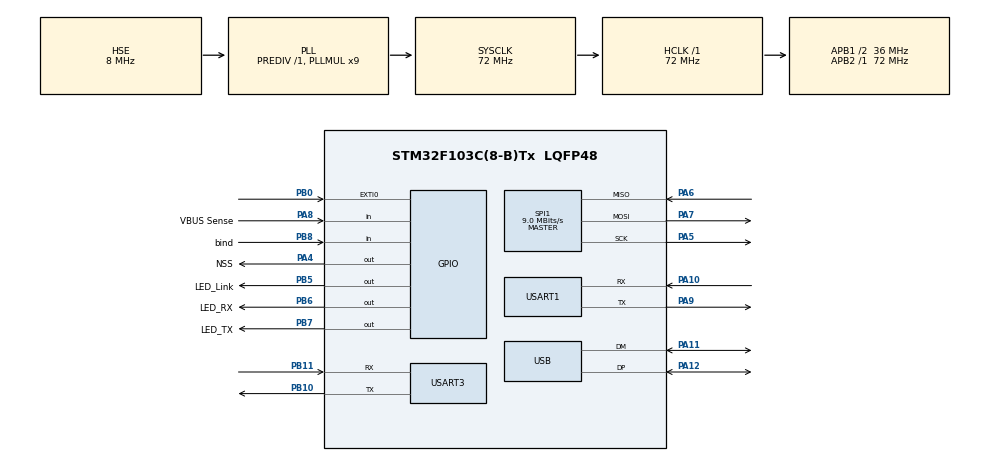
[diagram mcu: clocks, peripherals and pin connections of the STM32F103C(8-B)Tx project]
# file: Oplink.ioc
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Mcu.Family=STM32F1
Mcu.Name=STM32F103C(8-B)Tx
Mcu.Package=LQFP48
NVIC.EXTI0_IRQn=true\:0\:0\:false\:true\:true\:1\:true
NVIC.PriorityGroup=NVIC_PRIORITYGROUP_4
NVIC.RCC_IRQn=true\:0\:0\:false\:false\:true\:true
NVIC.USART1_IRQn=true\:0\:0\:false\:false\:true\:true
NVIC.USART3_IRQn=true\:0\:0\:false\:false\:true\:true
NVIC.USB_LP_CAN1_RX0_IRQn=true\:0\:0\:false\:false\:true\:false
PA10.Mode=Asynchronous
PA10.Signal=USART1_RX
PA11.Mode=Device
PA11.Signal=USB_DM
PA12.Mode=Device
PA12.Signal=USB_DP
PA13.Mode=Serial_Wire
PA13.Signal=SYS_JTMS-SWDIO
PA14.Mode=Serial_Wire
PA14.Signal=SYS_JTCK-SWCLK
PA4.GPIO_Label=NSS
PA4.Signal=GPIO_Output
PA5.Mode=Full_Duplex_Master
PA5.Signal=SPI1_SCK
PA6.Mode=Full_Duplex_Master
PA6.Signal=SPI1_MISO
PA7.Mode=Full_Duplex_Master
PA7.Signal=SPI1_MOSI
PA8.GPIO_Label=VBUS Sense
PA8.Signal=GPIO_Input
PA9.Mode=Asynchronous
PA9.Signal=USART1_TX
PB0.Signal=GPXTI0
PB10.Mode=Asynchronous
PB10.Signal=USART3_TX
PB11.Mode=Asynchronous
PB11.Signal=USART3_RX
PB5.GPIO_Label=LED_Link
PB5.PinState=GPIO_PIN_SET
PB5.Signal=GPIO_Output
PB6.GPIO_Label=LED_RX
PB6.PinState=GPIO_PIN_SET
PB6.Signal=GPIO_Output
PB7.GPIO_Label=LED_TX
PB7.PinState=GPIO_PIN_SET
PB7.Signal=GPIO_Output
PB8.GPIO_Label=bind
PB8.GPIO_PuPd=GPIO_PULLDOWN
PB8.Signal=GPIO_Input
PD0-OSC_IN.Mode=HSE-External-Oscillator
PD0-OSC_IN.Signal=RCC_OSC_IN
PD1-OSC_OUT.Mode=HSE-External-Oscillator
PD1-OSC_OUT.Signal=RCC_OSC_OUT
ProjectManager.HeapSize=0x200
ProjectManager.StackSize=0x400
ProjectManager.TargetToolchain=SW4STM32
RCC.AHBFreq_Value=72000000
RCC.APB1CLKDivider=RCC_HCLK_DIV2
RCC.APB1Freq_Value=36000000
RCC.APB1TimFreq_Value=72000000
RCC.APB2Freq_Value=72000000
RCC.APB2TimFreq_Value=72000000
RCC.HCLKFreq_Value=72000000
RCC.PLLMUL=RCC_PLL_MUL9
RCC.SYSCLKFreq_VALUE=72000000
RCC.SYSCLKSource=RCC_SYSCLKSOURCE_PLLCLK
RCC.USBFreq_Value=48000000
RCC.USBPrescaler=RCC_USBCLKSOURCE_PLL_DIV1_5
SPI1.BaudRatePrescaler=SPI_BAUDRATEPRESCALER_8
SPI1.CalculateBaudRate=9.0 MBits/s
SPI1.Direction=SPI_DIRECTION_2LINES
SPI1.Mode=SPI_MODE_MASTER
SPI1.VirtualType=VM_MASTER
USART1.VirtualMode=VM_ASYNC
USART3.VirtualMode=VM_ASYNC
USB_DEVICE.CLASS_NAME_FS=CDC
USB_DEVICE.VirtualMode=Cdc
USB_DEVICE.VirtualModeFS=Cdc_FS
VP_USB_DEVICE_VS_USB_DEVICE_CDC_FS.Mode=CDC_FS
board=custom

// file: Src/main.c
/**
  ******************************************************************************
  * @file           : main.c
  * @brief          : Main program body
  ******************************************************************************
  * This notice applies to any and all portions of this file
  * that are not between comment pairs USER CODE BEGIN and
  * USER CODE END. Other portions of this file, whether
  * inserted by the user or by software development tools
  * are owned by their respective copyright owners.
  *
  * Copyright (c) 2019 STMicroelectronics International N.V.
  * All rights reserved.
  *
  * Redistribution and use in source and binary forms, with or without
  * modification, are permitted, provided that the following conditions are met:
  *
  * 1. Redistribution of source code must retain the above copyright notice,
  *    this list of conditions and the following disclaimer.
  * 2. Redistributions in binary form must reproduce the above copyright notice,
  *    this list of conditions and the following disclaimer in the documentation
  *    and/or other materials provided with the distribution.
  * 3. Neither the name of STMicroelectronics nor the names of other
  *    contributors to this software may be used to endorse or promote products
  *    derived from this software without specific written permission.
  * 4. This software, including modifications and/or derivative works of this
  *    software, must execute solely and exclusively on microcontroller or
  *    microprocessor devices manufactured by or for STMicroelectronics.
  * 5. Redistribution and use of this software other than as permitted under
  *    this license is void and will automatically terminate your rights under
  *    this license.
  *
  * THIS SOFTWARE IS PROVIDED BY STMICROELECTRONICS AND CONTRIBUTORS "AS IS"
  * AND ANY EXPRESS, IMPLIED OR STATUTORY WARRANTIES, INCLUDING, BUT NOT
  * LIMITED TO, THE IMPLIED WARRANTIES OF MERCHANTABILITY, FITNESS FOR A
  * PARTICULAR PURPOSE AND NON-INFRINGEMENT OF THIRD PARTY INTELLECTUAL PROPERTY
  * RIGHTS ARE DISCLAIMED TO THE FULLEST EXTENT PERMITTED BY LAW. IN NO EVENT
  * SHALL STMICROELECTRONICS OR CONTRIBUTORS BE LIABLE FOR ANY DIRECT, INDIRECT,
  * INCIDENTAL, SPECIAL, EXEMPLARY, OR CONSEQUENTIAL DAMAGES (INCLUDING, BUT NOT
  * LIMITED TO, PROCUREMENT OF SUBSTITUTE GOODS OR SERVICES; LOSS OF USE, DATA,
  * OR PROFITS; OR BUSINESS INTERRUPTION) HOWEVER CAUSED AND ON ANY THEORY OF
  * LIABILITY, WHETHER IN CONTRACT, STRICT LIABILITY, OR TORT (INCLUDING
  * NEGLIGENCE OR OTHERWISE) ARISING IN ANY WAY OUT OF THE USE OF THIS SOFTWARE,
  * EVEN IF ADVISED OF THE POSSIBILITY OF SUCH DAMAGE.
  *
  ******************************************************************************
  */
#include "main.h"
#include "stm32f1xx_hal.h"
#include "usb_device.h"

/* USER CODE BEGIN Includes */
#include "usbd_cdc_if.h"
#include "RFM69.h"
#include <stdlib.h>
/* USER CODE END Includes */

SPI_HandleTypeDef hspi1;

UART_HandleTypeDef huart1;
UART_HandleTypeDef huart3;

/* USER CODE BEGIN PV */
/* Private variables ---------------------------------------------------------*/

#define ENCRYPTKEY	"sampleEncryptKey"
#define NODEID 22
#define NETID 100

char str_tx[256];
char str_rx[256];
int16_t rssiRX=0;

extern uint8_t RX_char[3];

bool prit_char = false;
bool recive_done = false;

typedef struct{
    uint8_t command;
    uint8_t id;
    uint8_t status;
    uint16_t remote_command;
    int16_t data_power;
    int16_t data_1;
    int16_t data_2;
    int16_t data_3;
    int16_t data_4;
}Data;

Data DataTX;
Data DataRX;

struct {
    char command[5];
    char id[5];
    char status[5];
    char remote_command[5];
    char data_power[5];
    char data_1[5];
    char data_2[5];
    char data_3[5];
    char data_4[5];
}PrintData_s;

int8_t *RX=0;

/* USER CODE END PV */

void SystemClock_Config(void);
static void MX_GPIO_Init(void);
static void MX_SPI1_Init(void);
static void MX_USART1_UART_Init(void);
static void MX_USART3_UART_Init(void);
static void MX_NVIC_Init(void);

/* USER CODE BEGIN PFP */
/* Private function prototypes -----------------------------------------------*/

/* USER CODE END PFP */

/* USER CODE BEGIN 0 */

void LED_INIT(void);

/* USER CODE END 0 */

int main(void)
{

  /* MCU Configuration----------------------------------------------------------*/

  /* Reset of all peripherals, Initializes the Flash interface and the Systick. */
  HAL_Init();

  /* Configure the system clock */
  SystemClock_Config();

  /* Initialize all configured peripherals */
  MX_GPIO_Init();
  MX_SPI1_Init();
  MX_USART1_UART_Init();
  MX_USART3_UART_Init();
  MX_USB_DEVICE_Init();

  /* Initialize interrupts */
  MX_NVIC_Init();
  /* USER CODE BEGIN 2 */

   LED_INIT ();
   RFM69_initialize (RF69_433MHZ ,NODEID ,NETID);
   RFM69_listen (true);
   RFM69_initialize_listen ();
   RFM69_encrypt (ENCRYPTKEY);
   RFM69_promiscuous (true);
   RFM69_setPowerLevel (31);
   RFM69_receiveBegin ();
  /* USER CODE END 2 */

  /* Infinite loop */
  /* USER CODE BEGIN WHILE */
  while (1)
  {

      if ( RFM69_receiveDone()) {
          rssiRX = RFM69_readRSSI2 ();
          RX = RFM69_Read_P ();
          DataRX = *( Data * ) RX;
          recive_done=true;
      }

      if (recive_done) {
          if ( prit_char == false )
              sprintf (str_tx ,
                       "Temperature: [%d] Pressure: [%d] Humidity: [%d] Vbat: [%.2fV] RSSI: [%d] packet: %d  \r\n" ,
                       DataRX.data_1 ,DataRX.data_2 ,
                       DataRX.data_3 ,( DataRX.data_power / 100.0 ) ,rssiRX ,DataRX.remote_command);
          else
              sprintf (str_tx ,"%d,%d,%d,%.2f,%d,%d\r\n" ,DataRX.data_1 ,DataRX.data_2 ,
                       DataRX.data_3 ,( DataRX.data_power / 100.0 ) ,rssiRX ,DataRX.remote_command);
          CDC_Transmit_FS (( unsigned char * ) str_tx ,( uint16_t ) strlen (str_tx));
          HAL_GPIO_WritePin (GPIOB ,GPIO_PIN_5 ,GPIO_PIN_SET);
          recive_done=false;
      }

      if(DataRX.remote_command==3000) {
          HAL_GPIO_WritePin (GPIOB ,LED_TX_Pin ,GPIO_PIN_RESET);
          DataTX=DataRX;
          DataTX.data_4=rssiRX;
          DataRX.remote_command=0;
          HAL_Delay (500);
          RFM69_send (100 ,( const void * ) ( &DataTX ) ,sizeof (DataTX) ,false);
          HAL_GPIO_WritePin (GPIOB ,LED_TX_Pin ,GPIO_PIN_SET);
      }

      switch (RX_char[0]){
          case '1':
              prit_char=true;
              RX_char[0]=0;
              break;
          case '2':
              prit_char=false;
              RX_char[0]=0;
              break;
          case '3':
              HAL_GPIO_TogglePin (GPIOB,LED_RX_Pin);
              RX_char[0]=0;
              break;
          case '4':
              RX_char[0]=0;
              DataTX=DataRX;
              RFM69_send (100 ,( const void * ) ( &DataTX ) ,sizeof (DataTX) ,false);
              break;
          default:
              break;

      }

      if (HAL_GPIO_ReadPin (GPIOB,GPIO_PIN_8))
            NVIC_SystemReset();

  /* USER CODE END WHILE */

  }

}

void SystemClock_Config(void)
{

  RCC_OscInitTypeDef RCC_OscInitStruct;
  RCC_ClkInitTypeDef RCC_ClkInitStruct;
  RCC_PeriphCLKInitTypeDef PeriphClkInit;

    /**Initializes the CPU, AHB and APB busses clocks
    */
  RCC_OscInitStruct.OscillatorType = RCC_OSCILLATORTYPE_HSE;
  RCC_OscInitStruct.HSEState = RCC_HSE_ON;
  RCC_OscInitStruct.HSEPredivValue = RCC_HSE_PREDIV_DIV1;
  RCC_OscInitStruct.HSIState = RCC_HSI_ON;
  RCC_OscInitStruct.PLL.PLLState = RCC_PLL_ON;
  RCC_OscInitStruct.PLL.PLLSource = RCC_PLLSOURCE_HSE;
  RCC_OscInitStruct.PLL.PLLMUL = RCC_PLL_MUL9;
  if (HAL_RCC_OscConfig(&RCC_OscInitStruct) != HAL_OK)
  {
    _Error_Handler(__FILE__, __LINE__);
  }

    /**Initializes the CPU, AHB and APB busses clocks
    */
  RCC_ClkInitStruct.ClockType = RCC_CLOCKTYPE_HCLK|RCC_CLOCKTYPE_SYSCLK
                              |RCC_CLOCKTYPE_PCLK1|RCC_CLOCKTYPE_PCLK2;
  RCC_ClkInitStruct.SYSCLKSource = RCC_SYSCLKSOURCE_PLLCLK;
  RCC_ClkInitStruct.AHBCLKDivider = RCC_SYSCLK_DIV1;
  RCC_ClkInitStruct.APB1CLKDivider = RCC_HCLK_DIV2;
  RCC_ClkInitStruct.APB2CLKDivider = RCC_HCLK_DIV1;

  if (HAL_RCC_ClockConfig(&RCC_ClkInitStruct, FLASH_LATENCY_2) != HAL_OK)
  {
    _Error_Handler(__FILE__, __LINE__);
  }

  PeriphClkInit.PeriphClockSelection = RCC_PERIPHCLK_USB;
  PeriphClkInit.UsbClockSelection = RCC_USBCLKSOURCE_PLL_DIV1_5;
  if (HAL_RCCEx_PeriphCLKConfig(&PeriphClkInit) != HAL_OK)
  {
    _Error_Handler(__FILE__, __LINE__);
  }

    /**Configure the Systick interrupt time
    */
  HAL_SYSTICK_Config(HAL_RCC_GetHCLKFreq()/1000);

    /**Configure the Systick
    */
  HAL_SYSTICK_CLKSourceConfig(SYSTICK_CLKSOURCE_HCLK);

  /* SysTick_IRQn interrupt configuration */
  HAL_NVIC_SetPriority(SysTick_IRQn, 0, 0);
}

/**
  * @brief NVIC Configuration.
  * @retval None
  */
static void MX_NVIC_Init(void)
{
  /* EXTI0_IRQn interrupt configuration */
  HAL_NVIC_SetPriority(EXTI0_IRQn, 0, 0);
  HAL_NVIC_EnableIRQ(EXTI0_IRQn);
}

/* SPI1 init function */
static void MX_SPI1_Init(void)
{

  /* SPI1 parameter configuration*/
  hspi1.Instance = SPI1;
  hspi1.Init.Mode = SPI_MODE_MASTER;
  hspi1.Init.Direction = SPI_DIRECTION_2LINES;
  hspi1.Init.DataSize = SPI_DATASIZE_8BIT;
  hspi1.Init.CLKPolarity = SPI_POLARITY_LOW;
  hspi1.Init.CLKPhase = SPI_PHASE_1EDGE;
  hspi1.Init.NSS = SPI_NSS_SOFT;
  hspi1.Init.BaudRatePrescaler = SPI_BAUDRATEPRESCALER_8;
  hspi1.Init.FirstBit = SPI_FIRSTBIT_MSB;
  hspi1.Init.TIMode = SPI_TIMODE_DISABLE;
  hspi1.Init.CRCCalculation = SPI_CRCCALCULATION_DISABLE;
  hspi1.Init.CRCPolynomial = 10;
  if (HAL_SPI_Init(&hspi1) != HAL_OK)
  {
    _Error_Handler(__FILE__, __LINE__);
  }

}

/* USART1 init function */
static void MX_USART1_UART_Init(void)
{

  huart1.Instance = USART1;
  huart1.Init.BaudRate = 115200;
  huart1.Init.WordLength = UART_WORDLENGTH_8B;
  huart1.Init.StopBits = UART_STOPBITS_1;
  huart1.Init.Parity = UART_PARITY_NONE;
  huart1.Init.Mode = UART_MODE_TX_RX;
  huart1.Init.HwFlowCtl = UART_HWCONTROL_NONE;
  huart1.Init.OverSampling = UART_OVERSAMPLING_16;
  if (HAL_UART_Init(&huart1) != HAL_OK)
  {
    _Error_Handler(__FILE__, __LINE__);
  }

}

/* USART3 init function */
static void MX_USART3_UART_Init(void)
{

  huart3.Instance = USART3;
  huart3.Init.BaudRate = 115200;
  huart3.Init.WordLength = UART_WORDLENGTH_8B;
  huart3.Init.StopBits = UART_STOPBITS_1;
  huart3.Init.Parity = UART_PARITY_NONE;
  huart3.Init.Mode = UART_MODE_TX_RX;
  huart3.Init.HwFlowCtl = UART_HWCONTROL_NONE;
  huart3.Init.OverSampling = UART_OVERSAMPLING_16;
  if (HAL_UART_Init(&huart3) != HAL_OK)
  {
    _Error_Handler(__FILE__, __LINE__);
  }

}

/** Configure pins as
        * Analog
        * Input
        * Output
        * EVENT_OUT
        * EXTI
*/
static void MX_GPIO_Init(void)
{

  GPIO_InitTypeDef GPIO_InitStruct;

  /* GPIO Ports Clock Enable */
  __HAL_RCC_GPIOD_CLK_ENABLE();
  __HAL_RCC_GPIOA_CLK_ENABLE();
  __HAL_RCC_GPIOB_CLK_ENABLE();

  /*Configure GPIO pin Output Level */
  HAL_GPIO_WritePin(NSS_GPIO_Port, NSS_Pin, GPIO_PIN_RESET);

  /*Configure GPIO pin Output Level */
  HAL_GPIO_WritePin(GPIOB, LED_Link_Pin|LED_RX_Pin|LED_TX_Pin, GPIO_PIN_SET);

  /*Configure GPIO pin : NSS_Pin */
  GPIO_InitStruct.Pin = NSS_Pin;
  GPIO_InitStruct.Mode = GPIO_MODE_OUTPUT_PP;
  GPIO_InitStruct.Pull = GPIO_NOPULL;
  GPIO_InitStruct.Speed = GPIO_SPEED_FREQ_LOW;
  HAL_GPIO_Init(NSS_GPIO_Port, &GPIO_InitStruct);

  /*Configure GPIO pin : PB0 */
  GPIO_InitStruct.Pin = GPIO_PIN_0;
  GPIO_InitStruct.Mode = GPIO_MODE_IT_RISING;
  GPIO_InitStruct.Pull = GPIO_NOPULL;
  HAL_GPIO_Init(GPIOB, &GPIO_InitStruct);

  /*Configure GPIO pin : VBUS_Sense_Pin */
  GPIO_InitStruct.Pin = VBUS_Sense_Pin;
  GPIO_InitStruct.Mode = GPIO_MODE_INPUT;
  GPIO_InitStruct.Pull = GPIO_NOPULL;
  HAL_GPIO_Init(VBUS_Sense_GPIO_Port, &GPIO_InitStruct);

  /*Configure GPIO pins : LED_Link_Pin LED_RX_Pin LED_TX_Pin */
  GPIO_InitStruct.Pin = LED_Link_Pin|LED_RX_Pin|LED_TX_Pin;
  GPIO_InitStruct.Mode = GPIO_MODE_OUTPUT_PP;
  GPIO_InitStruct.Pull = GPIO_NOPULL;
  GPIO_InitStruct.Speed = GPIO_SPEED_FREQ_LOW;
  HAL_GPIO_Init(GPIOB, &GPIO_InitStruct);

  /*Configure GPIO pin : bind_Pin */
  GPIO_InitStruct.Pin = bind_Pin;
  GPIO_InitStruct.Mode = GPIO_MODE_INPUT;
  GPIO_InitStruct.Pull = GPIO_PULLDOWN;
  HAL_GPIO_Init(bind_GPIO_Port, &GPIO_InitStruct);

}

/* USER CODE BEGIN 4 */
void LED_INIT(void){

  HAL_GPIO_WritePin (GPIOB,GPIO_PIN_5,GPIO_PIN_SET);
  HAL_GPIO_WritePin (GPIOB,GPIO_PIN_6,GPIO_PIN_SET);
  HAL_GPIO_WritePin (GPIOB,GPIO_PIN_7,GPIO_PIN_SET);
  HAL_Delay (200);
  HAL_GPIO_WritePin (GPIOB,GPIO_PIN_5,GPIO_PIN_RESET);
  HAL_GPIO_WritePin (GPIOB,GPIO_PIN_6,GPIO_PIN_RESET);
  HAL_GPIO_WritePin (GPIOB,GPIO_PIN_7,GPIO_PIN_RESET);
  HAL_Delay (200);
  HAL_GPIO_WritePin (GPIOB,GPIO_PIN_5,GPIO_PIN_SET);
  HAL_GPIO_WritePin (GPIOB,GPIO_PIN_6,GPIO_PIN_SET);
  HAL_GPIO_WritePin (GPIOB,GPIO_PIN_7,GPIO_PIN_SET);
}
/* USER CODE END 4 */

void _Error_Handler(char *file, int line)
{
  while(1)
  {
  }
}

/************************ (C) COPYRIGHT STMicroelectronics *****END OF FILE****/
